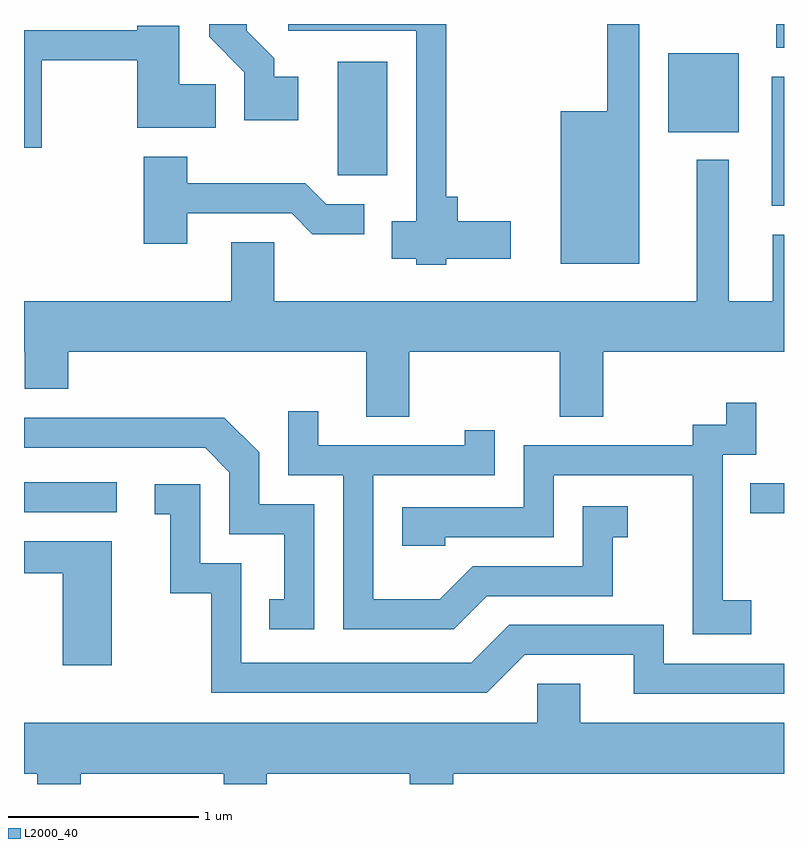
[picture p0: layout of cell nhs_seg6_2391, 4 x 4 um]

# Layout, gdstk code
import gdstk
lib = gdstk.Library(unit=1e-6, precision=1e-09)
def R(c, l, rs):  # rectangles x0, y0, x1, y1
    for r in rs: c.add(gdstk.rectangle(r[:2], r[2:], *l))
def P(c, l, *ps):  # polygons
    for p in ps: c.add(gdstk.Polygon(p, *l))
L2000_40 = (2000, 40)

nhs_seg6_2391 = lib.new_cell('nhs_seg6_2391')
R(nhs_seg6_2391, L2000_40, [(261.433,1593.586,261.611,1593.744), (257.611,1593.591,258.098,1593.749), (261.546,1595.206,261.611,1595.884), (259.261,1595.366,259.524,1595.964), (261.001,1595.591,261.374,1596.009), (261.571,1596.036,261.611,1596.162)])
P(nhs_seg6_2391, L2000_40, [(259.834,1594.926),(260.174,1594.926),(260.174,1595.124),(259.894,1595.124),(259.894,1595.254),(259.834,1595.254),(259.834,1596.162),(259.003,1596.162),(259.003,1596.126),(259.676,1596.126),(259.676,1595.124),(259.546,1595.124),(259.546,1594.926),(259.676,1594.926),(259.676,1594.896),(259.834,1594.896)],
  [(260.849,1596.162),(260.681,1596.162),(260.681,1595.704),(260.436,1595.704),(260.436,1594.901),(260.849,1594.901)],
  [(259.054,1595.884),(258.929,1595.884),(258.929,1595.982),(258.784,1596.127),(258.784,1596.162),(258.586,1596.162),(258.586,1596.094),(258.771,1595.909),(258.771,1595.656),(259.054,1595.656)],
  [(257.704,1595.971),(258.206,1595.971),(258.206,1595.616),(258.619,1595.616),(258.619,1595.844),(258.429,1595.844),(258.429,1596.154),(258.206,1596.154),(258.206,1596.129),(257.611,1596.129),(257.611,1595.511),(257.704,1595.511)],
  [(258.469,1595.166),(259.019,1595.166),(259.129,1595.056),(259.403,1595.056),(259.403,1595.214),(259.202,1595.214),(259.092,1595.324),(258.469,1595.324),(258.469,1595.464),(258.241,1595.464),(258.241,1595.006),(258.469,1595.006)],
  [(259.411,1594.096),(259.639,1594.096),(259.639,1594.436),(260.431,1594.436),(260.431,1594.096),(260.659,1594.096),(260.659,1594.436),(261.611,1594.436),(261.611,1595.054),(261.551,1595.054),(261.551,1594.704),(261.319,1594.704),(261.319,1595.448),(261.151,1595.448),(261.151,1594.704),(258.929,1594.704),(258.929,1595.014),(258.701,1595.014),(258.701,1594.704),(257.611,1594.704),(257.611,1594.436),(257.616,1594.436),(257.616,1594.241),(257.844,1594.241),(257.844,1594.436),(259.411,1594.436)],
  [(261.439,1593.129),(261.289,1593.129),(261.289,1593.896),(261.464,1593.896),(261.464,1594.168),(261.306,1594.168),(261.306,1594.054),(261.131,1594.054),(261.131,1593.944),(260.241,1593.944),(260.241,1593.619),(259.601,1593.619),(259.601,1593.416),(259.829,1593.416),(259.829,1593.461),(260.399,1593.461),(260.399,1593.786),(261.131,1593.786),(261.131,1592.951),(261.439,1592.951)],
  [(260.046,1593.151),(260.709,1593.151),(260.709,1593.461),(260.788,1593.461),(260.788,1593.624),(260.551,1593.624),(260.551,1593.309),(259.974,1593.309),(259.799,1593.134),(259.449,1593.134),(259.449,1593.786),(260.089,1593.786),(260.089,1594.023),(259.931,1594.023),(259.931,1593.944),(259.159,1593.944),(259.159,1594.123),(259.001,1594.123),(259.001,1593.786),(259.291,1593.786),(259.291,1592.976),(259.872,1592.976)],
  [(259.139,1593.634),(258.849,1593.634),(258.849,1593.907),(258.666,1594.089),(257.611,1594.089),(257.611,1593.931),(258.564,1593.931),(258.691,1593.804),(258.691,1593.476),(258.981,1593.476),(258.981,1593.134),(258.903,1593.134),(258.903,1592.976),(259.139,1592.976)],
  [(261.611,1592.794),(260.979,1592.794),(260.979,1592.999),(260.164,1592.999),(259.964,1592.799),(258.754,1592.799),(258.754,1593.324),(258.539,1593.324),(258.539,1593.739),(258.298,1593.739),(258.298,1593.581),(258.381,1593.581),(258.381,1593.166),(258.596,1593.166),(258.596,1592.641),(260.046,1592.641),(260.247,1592.841),(260.821,1592.841),(260.821,1592.636),(261.611,1592.636)],
  [(258.074,1593.439),(257.611,1593.439),(257.611,1593.271),(257.816,1593.271),(257.816,1592.786),(258.074,1592.786)],
  [(257.909,1592.216),(258.661,1592.216),(258.661,1592.162),(258.889,1592.162),(258.889,1592.216),(259.641,1592.216),(259.641,1592.162),(259.869,1592.162),(259.869,1592.216),(261.611,1592.216),(261.611,1592.484),(260.539,1592.484),(260.539,1592.689),(260.311,1592.689),(260.311,1592.484),(257.611,1592.484),(257.611,1592.216),(257.681,1592.216),(257.681,1592.162),(257.909,1592.162)])

lib.write_gds('nhs_seg6_2391.gds')
